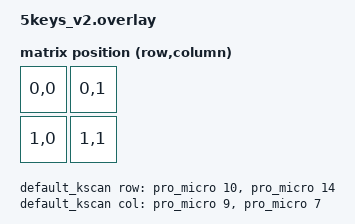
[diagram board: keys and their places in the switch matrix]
#include <dt-bindings/gpio/gpio.h>
#include <dt-bindings/zmk/matrix_transform.h>

/ {
    chosen {
        zmk,kscan = &default_kscan;
        zmk,matrix_transform = &default_transform;
    };

    default_kscan: kscan {
        compatible = "zmk,kscan-gpio-matrix";
        label = "default_kscan";
        diode-direction = "col2row";

        col-gpios
               = <&pro_micro 9 GPIO_ACTIVE_HIGH> // Col_0 106/D9 
               , <&pro_micro 7 GPIO_ACTIVE_HIGH> // Col_1 011/D7
               ;

        row-gpios
               = <&pro_micro 10 (GPIO_ACTIVE_HIGH | GPIO_PULL_DOWN)> // Row_0 009/D10
               , <&pro_micro 14 (GPIO_ACTIVE_HIGH | GPIO_PULL_DOWN)> // Row_1 111/D14
               ;
    };

    default_transform: matrix_transform {
        compatible = "zmk,matrix-transform";
        columns = <2>;
        rows = <2>;
        map = <
                RC(0,0) RC(0,1)
                RC(1,0) RC(1,1)
              >;
    };
};
